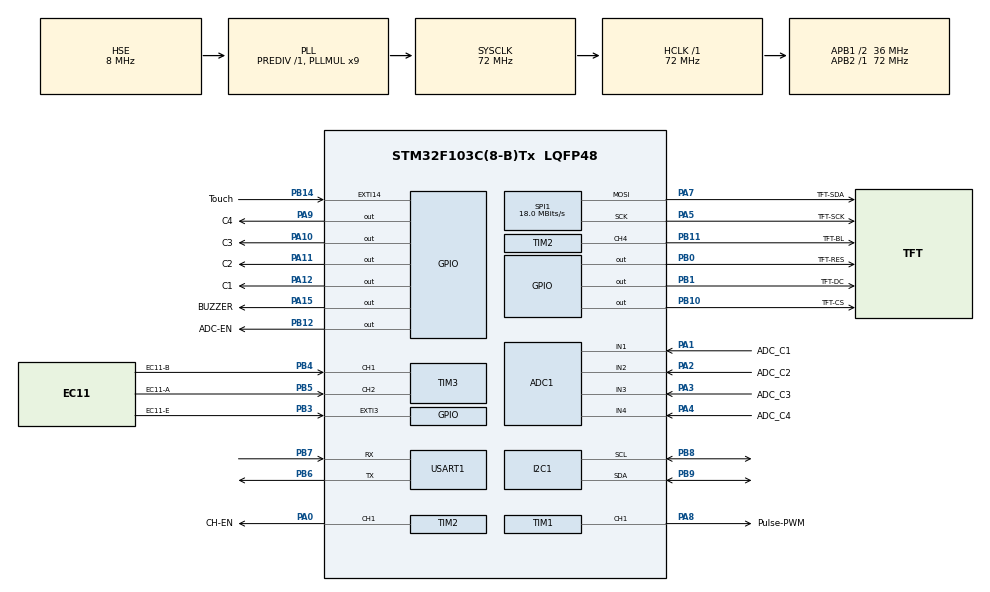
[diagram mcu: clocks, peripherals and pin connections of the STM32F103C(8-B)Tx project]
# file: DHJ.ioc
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ADC1.Channel-6\#ChannelRegularConversion=ADC_CHANNEL_1
ADC1.Channel-7\#ChannelRegularConversion=ADC_CHANNEL_2
ADC1.Channel-8\#ChannelRegularConversion=ADC_CHANNEL_3
ADC1.Channel-9\#ChannelRegularConversion=ADC_CHANNEL_4
ADC1.ContinuousConvMode=ENABLE
ADC1.DiscontinuousConvMode=DISABLE
ADC1.NbrOfConversion=4
ADC1.NbrOfConversionFlag=1
ADC1.Rank-6\#ChannelRegularConversion=1
ADC1.Rank-7\#ChannelRegularConversion=2
ADC1.Rank-8\#ChannelRegularConversion=3
ADC1.Rank-9\#ChannelRegularConversion=4
ADC1.SamplingTime-6\#ChannelRegularConversion=ADC_SAMPLETIME_239CYCLES_5
ADC1.SamplingTime-7\#ChannelRegularConversion=ADC_SAMPLETIME_239CYCLES_5
ADC1.SamplingTime-8\#ChannelRegularConversion=ADC_SAMPLETIME_239CYCLES_5
ADC1.SamplingTime-9\#ChannelRegularConversion=ADC_SAMPLETIME_239CYCLES_5
ADC1.master=1
Dma.ADC1.1.Direction=DMA_PERIPH_TO_MEMORY
Dma.ADC1.1.Instance=DMA1_Channel1
Dma.ADC1.1.MemDataAlignment=DMA_MDATAALIGN_HALFWORD
Dma.ADC1.1.MemInc=DMA_MINC_ENABLE
Dma.ADC1.1.Mode=DMA_CIRCULAR
Dma.ADC1.1.PeriphDataAlignment=DMA_PDATAALIGN_HALFWORD
Dma.ADC1.1.PeriphInc=DMA_PINC_DISABLE
Dma.ADC1.1.Priority=DMA_PRIORITY_VERY_HIGH
Dma.Request0=SPI1_TX
Dma.Request1=ADC1
Dma.SPI1_TX.0.Direction=DMA_MEMORY_TO_PERIPH
Dma.SPI1_TX.0.Instance=DMA1_Channel3
Dma.SPI1_TX.0.MemDataAlignment=DMA_MDATAALIGN_BYTE
Dma.SPI1_TX.0.MemInc=DMA_MINC_ENABLE
Dma.SPI1_TX.0.Mode=DMA_NORMAL
Dma.SPI1_TX.0.PeriphDataAlignment=DMA_PDATAALIGN_BYTE
Dma.SPI1_TX.0.PeriphInc=DMA_PINC_DISABLE
Dma.SPI1_TX.0.Priority=DMA_PRIORITY_VERY_HIGH
I2C1.I2C_Mode=I2C_Fast
Mcu.Family=STM32F1
Mcu.Name=STM32F103C(8-B)Tx
Mcu.Package=LQFP48
NVIC.DMA1_Channel1_IRQn=true\:0\:0\:false\:false\:true\:false\:true\:true
NVIC.DMA1_Channel3_IRQn=true\:0\:0\:false\:false\:true\:false\:true\:true
NVIC.EXTI15_10_IRQn=true\:0\:0\:false\:false\:true\:true\:true\:true
NVIC.EXTI3_IRQn=true\:0\:0\:false\:false\:true\:true\:true\:true
NVIC.PriorityGroup=NVIC_PRIORITYGROUP_4
NVIC.TIM1_BRK_IRQn=true\:0\:0\:false\:false\:true\:true\:true\:true
NVIC.TIM1_CC_IRQn=true\:0\:0\:false\:false\:true\:true\:true\:true
NVIC.TIM1_TRG_COM_IRQn=true\:0\:0\:false\:false\:true\:true\:true\:true
NVIC.TIM1_UP_IRQn=true\:0\:0\:false\:false\:true\:true\:true\:true
NVIC.TIM4_IRQn=true\:0\:0\:false\:false\:true\:true\:true\:true
PA0-WKUP.GPIO_Label=CH-EN
PA0-WKUP.Signal=S_TIM2_CH1_ETR
PA1.GPIO_Label=ADC_C1
PA1.Signal=ADCx_IN1
PA10.GPIO_Label=C3
PA10.GPIO_PuPd=GPIO_PULLDOWN
PA10.Signal=GPIO_Output
PA11.GPIO_Label=C2
PA11.GPIO_PuPd=GPIO_PULLDOWN
PA11.Signal=GPIO_Output
PA12.GPIO_Label=C1
PA12.GPIO_PuPd=GPIO_PULLDOWN
PA12.Signal=GPIO_Output
PA13.Mode=Serial_Wire
PA13.Signal=SYS_JTMS-SWDIO
PA14.Mode=Serial_Wire
PA14.Signal=SYS_JTCK-SWCLK
PA15.GPIO_Label=BUZZER
PA15.GPIO_PuPd=GPIO_PULLDOWN
PA15.Signal=GPIO_Output
PA2.GPIO_Label=ADC_C2
PA2.Signal=ADCx_IN2
PA3.GPIO_Label=ADC_C3
PA3.Signal=ADCx_IN3
PA4.GPIO_Label=ADC_C4
PA4.Signal=ADCx_IN4
PA5.GPIO_Label=TFT-SCK
PA5.Mode=TX_Only_Simplex_Unidirect_Master
PA5.Signal=SPI1_SCK
PA7.GPIO_Label=TFT-SDA
PA7.Mode=TX_Only_Simplex_Unidirect_Master
PA7.Signal=SPI1_MOSI
PA8.GPIO_Label=Pulse-PWM
PA8.GPIO_Speed=GPIO_SPEED_FREQ_HIGH
PA8.Signal=S_TIM1_CH1
PA9.GPIO_Label=C4
PA9.GPIO_PuPd=GPIO_PULLDOWN
PA9.PinState=GPIO_PIN_RESET
PA9.Signal=GPIO_Output
PB0.GPIO_Label=TFT-RES
PB0.PinState=GPIO_PIN_SET
PB0.Signal=GPIO_Output
PB1.GPIO_Label=TFT-DC
PB1.PinState=GPIO_PIN_SET
PB1.Signal=GPIO_Output
PB10.GPIO_Label=TFT-CS
PB10.PinState=GPIO_PIN_SET
PB10.Signal=GPIO_Output
PB11.GPIO_Label=TFT-BL
PB11.Signal=S_TIM2_CH4
PB12.GPIO_Label=ADC-EN
PB12.GPIO_PuPd=GPIO_PULLDOWN
PB12.GPIO_Speed=GPIO_SPEED_FREQ_HIGH
PB12.Signal=GPIO_Output
PB14.GPIO_Label=Touch
PB14.GPIO_ModeDefaultEXTI=GPIO_MODE_IT_FALLING
PB14.GPIO_PuPd=GPIO_PULLUP
PB14.Signal=GPXTI14
PB3.GPIO_Label=EC11-E
PB3.GPIO_ModeDefaultEXTI=GPIO_MODE_IT_RISING_FALLING
PB3.GPIO_PuPd=GPIO_PULLUP
PB3.Signal=GPXTI3
PB4.GPIO_Label=EC11-B
PB4.Signal=S_TIM3_CH1
PB5.GPIO_Label=EC11-A
PB5.Signal=S_TIM3_CH2
PB6.Mode=Asynchronous
PB6.Signal=USART1_TX
PB7.Mode=Asynchronous
PB7.Signal=USART1_RX
PB8.Mode=I2C
PB8.Signal=I2C1_SCL
PB9.Mode=I2C
PB9.Signal=I2C1_SDA
PD0-OSC_IN.Mode=HSE-External-Oscillator
PD0-OSC_IN.Signal=RCC_OSC_IN
PD1-OSC_OUT.Mode=HSE-External-Oscillator
PD1-OSC_OUT.Signal=RCC_OSC_OUT
ProjectManager.HeapSize=0x200
ProjectManager.StackSize=0x400
ProjectManager.TargetToolchain=CMake
RCC.ADCPresc=RCC_ADCPCLK2_DIV6
RCC.AHBFreq_Value=72000000
RCC.APB1CLKDivider=RCC_HCLK_DIV2
RCC.APB1Freq_Value=36000000
RCC.APB1TimFreq_Value=72000000
RCC.APB2Freq_Value=72000000
RCC.APB2TimFreq_Value=72000000
RCC.HCLKFreq_Value=72000000
RCC.PLLMUL=RCC_PLL_MUL9
RCC.PLLSourceVirtual=RCC_PLLSOURCE_HSE
RCC.SYSCLKFreq_VALUE=72000000
RCC.SYSCLKSource=RCC_SYSCLKSOURCE_PLLCLK
RCC.USBFreq_Value=72000000
SH.ADCx_IN1.0=ADC1_IN1,IN1
SH.ADCx_IN2.0=ADC1_IN2,IN2
SH.ADCx_IN3.0=ADC1_IN3,IN3
SH.ADCx_IN4.0=ADC1_IN4,IN4
SH.S_TIM1_CH1.0=TIM1_CH1,PWM Generation1 CH1
SH.S_TIM2_CH1_ETR.0=TIM2_CH1,PWM Generation1 CH1
SH.S_TIM2_CH4.0=TIM2_CH4,PWM Generation4 CH4
SH.S_TIM3_CH1.0=TIM3_CH1,Encoder_Interface
SH.S_TIM3_CH2.0=TIM3_CH2,Encoder_Interface
SPI1.BaudRatePrescaler=SPI_BAUDRATEPRESCALER_4
SPI1.CLKPhase=SPI_PHASE_2EDGE
SPI1.CLKPolarity=SPI_POLARITY_HIGH
SPI1.CalculateBaudRate=18.0 MBits/s
SPI1.DataSize=SPI_DATASIZE_8BIT
SPI1.Direction=SPI_DIRECTION_2LINES
SPI1.Mode=SPI_MODE_MASTER
SPI1.VirtualType=VM_MASTER
TIM1.Channel-PWM\ Generation1\ CH1=TIM_CHANNEL_1
TIM1.Period=999
TIM1.Prescaler=71
TIM2.Channel-PWM\ Generation1\ CH1=TIM_CHANNEL_1
TIM2.Channel-PWM\ Generation4\ CH4=TIM_CHANNEL_4
TIM2.Period=99
TIM2.Prescaler=71
TIM3.AutoReloadPreload=TIM_AUTORELOAD_PRELOAD_ENABLE
TIM3.EncoderMode=TIM_ENCODERMODE_TI12
TIM3.IC1Filter=10
TIM3.IC2Filter=8
TIM4.Period=999
TIM4.Prescaler=71
USART1.VirtualMode=VM_ASYNC
VP_ADC1_Vref_Input.Mode=IN-Vrefint
VP_TIM4_VS_ClockSourceINT.Mode=Internal
board=custom

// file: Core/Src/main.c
/* USER CODE BEGIN Header */
/**
  ******************************************************************************
  * @file           : main.c
  * @brief          : Main program body
  ******************************************************************************
  * @attention
  *
  * Copyright (c) 2026 STMicroelectronics.
  * All rights reserved.
  *
  * This software is licensed under terms that can be found in the LICENSE file
  * in the root directory of this software component.
  * If no LICENSE file comes with this software, it is provided AS-IS.
  *
  ******************************************************************************
  */
/* USER CODE END Header */
#include "main.h"
#include "adc.h"
#include "dma.h"
#include "i2c.h"
#include "spi.h"
#include "tim.h"
#include "usart.h"
#include "gpio.h"

/* USER CODE BEGIN Includes */
#include "encoder.h"
#include "buzzer.h"
#include "boot_splash.h"
#include "tft_ui.h"
#include "st7789.h"
#include "control.h"
#include "power_mgr.h"
/* USER CODE END Includes */

/* USER CODE BEGIN PV */
volatile uint32_t g_ms_tick = 0;
static volatile uint8_t g_power_fail_pending = 0U;
static volatile uint8_t g_power_recovery_pending = 0U;

#define SYSTEM_IWDG_RELOAD_VALUE 1400U
#define SYSTEM_IWDG_PRESCALER_DIV128 5U
#define SYSTEM_IWDG_KEY_UNLOCK 0x5555U
#define SYSTEM_IWDG_KEY_REFRESH 0xAAAAU
#define SYSTEM_IWDG_KEY_START 0xCCCCU
/* USER CODE END PV */

void SystemClock_Config(void);
/* USER CODE BEGIN PFP */
static void System_WatchdogInit(void);

/* USER CODE END PFP */

int main(void)
{

  /* MCU Configuration--------------------------------------------------------*/

  /* Reset of all peripherals, Initializes the Flash interface and the Systick. */
  HAL_Init();

  /* Configure the system clock */
  SystemClock_Config();

  /* Initialize all configured peripherals */
  MX_GPIO_Init();
  MX_DMA_Init();
  MX_ADC1_Init();
  MX_I2C1_Init();
  MX_SPI1_Init();
  MX_TIM1_Init();
  MX_TIM2_Init();
  MX_TIM3_Init();
  MX_TIM4_Init();
  MX_USART1_UART_Init();
  /* USER CODE BEGIN 2 */
  {
    PWR_PVDTypeDef pvd_config = {0};
    pvd_config.PVDLevel = PWR_PVDLEVEL_7;
    pvd_config.Mode = PWR_PVD_MODE_IT_RISING_FALLING;
    HAL_PWR_ConfigPVD(&pvd_config);
    HAL_PWR_EnablePVD();
    HAL_NVIC_SetPriority(PVD_IRQn, 0U, 0U);
    HAL_NVIC_EnableIRQ(PVD_IRQn);
    if (__HAL_PWR_GET_FLAG(PWR_FLAG_PVDO) != RESET)
    {
      g_power_fail_pending = 1U;
    }
  }
  HAL_TIM_Base_Start_IT(&htim4);
  Buzzer_Init();
  PowerMgr_Init();
  Encoder_Init();
  TftUi_Init();
  Control_Init();
  TftUi_SetWorkState(TFT_UI_STATE_READY);
  ST7789_Init();
  BootSplash_Show();
  System_WatchdogInit();
  /* USER CODE END 2 */

  /* Infinite loop */
  while (1)
  {

    /* USER CODE BEGIN 3 */
    EncoderEvent_t encoder_event = ENCODER_EVENT_NONE;

    if (g_power_fail_pending != 0U)
    {
      /* 1. 立即关闭所有高功耗外设，为Flash保存预留电能 */
      Control_PowerFailShutdown();
      Buzzer_Off();
      __HAL_TIM_SET_COMPARE(&htim2, TIM_CHANNEL_4, 0);

      /* 2. 执行关键数据保存 */
      (void)TftUi_SavePendingCount();

      HAL_TIM_Base_Stop_IT(&htim4);
      g_power_fail_pending = 0U;

      /* 保持 PVD 中断开启，电压恢复后复位并重新启动设备。 */
      while (1)
      {
        IWDG->KR = SYSTEM_IWDG_KEY_REFRESH;
        if ((g_power_recovery_pending != 0U) &&
            (__HAL_PWR_GET_FLAG(PWR_FLAG_PVDO) == RESET))
        {
          HAL_Delay(100U);
          if (__HAL_PWR_GET_FLAG(PWR_FLAG_PVDO) == RESET)
          {
            NVIC_SystemReset();
          }
          g_power_recovery_pending = 0U;
        }
        __WFI();
      }
    }

    PowerMgr_Task();
    Control_HandleTouch();
    Control_Task();
    Encoder_Task();
    encoder_event = Encoder_GetEvent();
    if (encoder_event != ENCODER_EVENT_NONE)
    {
      TftUi_ProcessEncoderEvent(encoder_event);
    }
    Buzzer_Task();
    PowerMgr_ChargeTask();
    if ((encoder_event == ENCODER_EVENT_CLICK) ||
        (encoder_event == ENCODER_EVENT_LONG_PRESS))
    {
      Buzzer_Beep(10U);
    }
    TftUi_Task();
    IWDG->KR = SYSTEM_IWDG_KEY_REFRESH;
  }
  /* USER CODE END 3 */
}

void SystemClock_Config(void)
{
  RCC_OscInitTypeDef RCC_OscInitStruct = {0};
  RCC_ClkInitTypeDef RCC_ClkInitStruct = {0};
  RCC_PeriphCLKInitTypeDef PeriphClkInit = {0};

  /** Initializes the RCC Oscillators according to the specified parameters
  * in the RCC_OscInitTypeDef structure.
  */
  RCC_OscInitStruct.OscillatorType = RCC_OSCILLATORTYPE_HSE;
  RCC_OscInitStruct.HSEState = RCC_HSE_ON;
  RCC_OscInitStruct.HSEPredivValue = RCC_HSE_PREDIV_DIV1;
  RCC_OscInitStruct.HSIState = RCC_HSI_ON;
  RCC_OscInitStruct.PLL.PLLState = RCC_PLL_ON;
  RCC_OscInitStruct.PLL.PLLSource = RCC_PLLSOURCE_HSE;
  RCC_OscInitStruct.PLL.PLLMUL = RCC_PLL_MUL9;
  if (HAL_RCC_OscConfig(&RCC_OscInitStruct) != HAL_OK)
  {
    Error_Handler();
  }

  /** Initializes the CPU, AHB and APB buses clocks
  */
  RCC_ClkInitStruct.ClockType = RCC_CLOCKTYPE_HCLK|RCC_CLOCKTYPE_SYSCLK
                              |RCC_CLOCKTYPE_PCLK1|RCC_CLOCKTYPE_PCLK2;
  RCC_ClkInitStruct.SYSCLKSource = RCC_SYSCLKSOURCE_PLLCLK;
  RCC_ClkInitStruct.AHBCLKDivider = RCC_SYSCLK_DIV1;
  RCC_ClkInitStruct.APB1CLKDivider = RCC_HCLK_DIV2;
  RCC_ClkInitStruct.APB2CLKDivider = RCC_HCLK_DIV1;

  if (HAL_RCC_ClockConfig(&RCC_ClkInitStruct, FLASH_LATENCY_2) != HAL_OK)
  {
    Error_Handler();
  }
  PeriphClkInit.PeriphClockSelection = RCC_PERIPHCLK_ADC;
  PeriphClkInit.AdcClockSelection = RCC_ADCPCLK2_DIV6;
  if (HAL_RCCEx_PeriphCLKConfig(&PeriphClkInit) != HAL_OK)
  {
    Error_Handler();
  }
}

/* USER CODE BEGIN 4 */

static void System_WatchdogInit(void)
{
  uint32_t update_timeout = 0U;

  IWDG->KR = SYSTEM_IWDG_KEY_UNLOCK;
  IWDG->PR = SYSTEM_IWDG_PRESCALER_DIV128;
  IWDG->RLR = SYSTEM_IWDG_RELOAD_VALUE;
  while ((IWDG->SR != 0U) && (update_timeout < 100000U))
  {
    update_timeout++;
  }
  IWDG->KR = SYSTEM_IWDG_KEY_REFRESH;
  IWDG->KR = SYSTEM_IWDG_KEY_START;
}

void System_FaultShutdown(void)
{
  GPIOB->BRR = CH_EN_Pin;
  GPIOA->BRR = C1_Pin | C2_Pin | C3_Pin | C4_Pin | BUZZER_Pin;
  TIM1->CCR1 = 0U;
  TIM2->CCR4 = 0U;
  __DSB();
}

void HAL_TIM_PeriodElapsedCallback(TIM_HandleTypeDef *htim)
{
  /* 使用 TIM4 周期中断累计系统毫秒计数。 */
  if (htim->Instance == TIM4)
  {
    g_ms_tick++;
  }
}

void PVD_IRQHandler(void)
{
  /* 将电源电压检测中断交由 HAL 处理。 */
  HAL_PWR_PVD_IRQHandler();
}

void HAL_PWR_PVDCallback(void)
{
  if (__HAL_PWR_GET_FLAG(PWR_FLAG_PVDO) != RESET)
  {
    System_FaultShutdown();
    g_power_fail_pending = 1U;
    g_power_recovery_pending = 0U;
  }
  else
  {
    g_power_recovery_pending = 1U;
  }
}

/* USER CODE END 4 */

void Error_Handler(void)
{
  /* USER CODE BEGIN Error_Handler_Debug */
  System_FaultShutdown();
  __disable_irq();
  while (1)
  {
  }
  /* USER CODE END Error_Handler_Debug */
}
